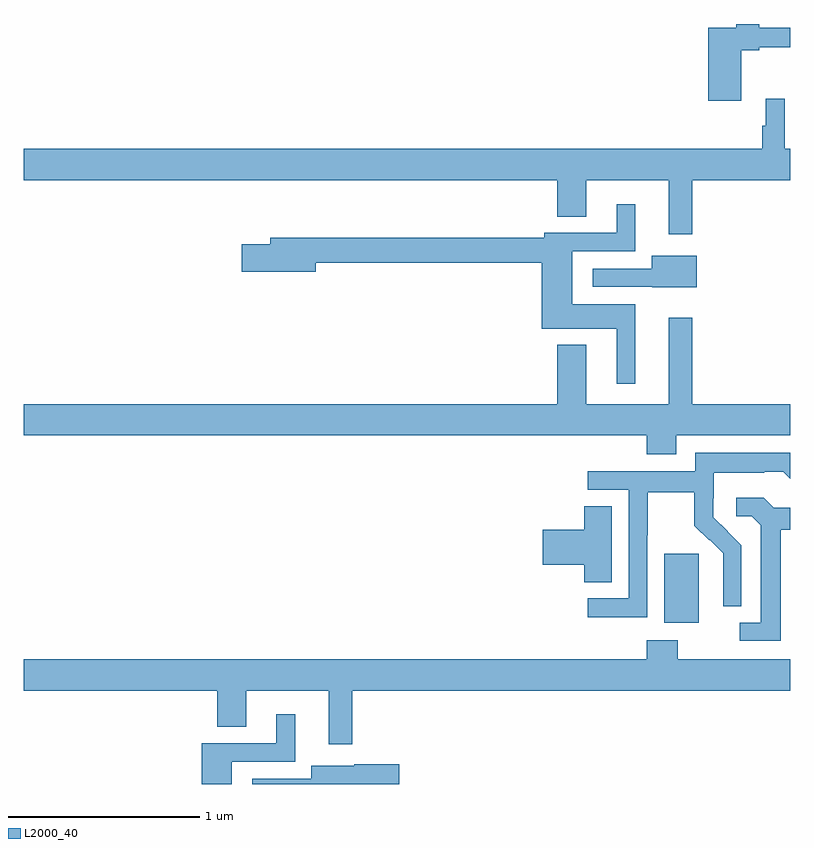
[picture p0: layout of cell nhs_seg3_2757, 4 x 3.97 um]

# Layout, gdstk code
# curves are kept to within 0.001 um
import gdstk
lib = gdstk.Library(unit=1e-6, precision=1e-09)
def R(c, l, rs):  # rectangles x0, y0, x1, y1
    for r in rs: c.add(gdstk.rectangle(r[:2], r[2:], *l))
def P(c, l, *ps):  # polygons
    for p in ps: c.add(gdstk.Polygon(p, *l))
L2000_40 = (2000, 40)

nhs_seg3_2757 = lib.new_cell('nhs_seg3_2757')
R(nhs_seg3_2757, L2000_40, [(256.343,729.242,256.522,729.603)])
P(nhs_seg3_2757, L2000_40, [(256.744,732.232),(256.84,732.232),(256.84,732.247),(257,732.247),(257,732.348),(256.84,732.348),(256.84,732.368),(256.72,732.368),(256.72,732.348),(256.574,732.348),(256.574,731.967),(256.744,731.967)],
  [(256.489,731.552),(257,731.552),(257,731.716),(256.971,731.716),(256.971,731.977),(256.874,731.977),(256.874,731.838),(256.855,731.838),(256.855,731.716),(253,731.716),(253,731.552),(255.785,731.552),(255.785,731.362),(255.937,731.362),(255.937,731.552),(256.367,731.552),(256.367,731.271),(256.489,731.271)],
  [(256.192,730.906),(255.862,730.906),(255.862,731.181),(256.192,731.181),(256.192,731.428),(256.094,731.428),(256.094,731.277),(255.716,731.277),(255.716,731.251),(254.285,731.251),(254.285,731.217),(254.136,731.217),(254.136,731.075),(254.524,731.075),(254.524,731.122),(255.704,731.122),(255.704,730.778),(256.094,730.778),(256.094,730.491),(256.192,730.491)],
  [(256.513,731.158),(256.277,731.158),(256.277,731.091),(255.969,731.091),(255.969,730.995),(256.281,730.995),(256.281,730.994),(256.513,730.994)],
  [(256.405,730.22),(257,730.22),(257,730.384),(256.489,730.384),(256.489,730.834),(256.367,730.834),(256.367,730.384),(255.937,730.384),(255.937,730.693),(255.785,730.693),(255.785,730.384),(253,730.384),(253,730.22),(256.253,730.22),(256.253,730.121),(256.405,730.121)],
  [(256.254,729.7),(256.257,729.7),(256.257,729.924),(256.501,729.924),(256.501,729.749),(256.578,729.672),(256.581,729.675),(256.652,729.605),(256.652,729.482),(256.65,729.482),(256.65,729.328),(256.746,729.328),(256.746,729.646),(256.6,729.794),(256.6,729.891),(256.602,729.891),(256.602,730.025),(256.865,730.025),(256.865,730.029),(256.965,730.029),(257,729.994),(257,730.129),(256.506,730.129),(256.506,730.032),(255.945,730.032),(255.945,729.936),(256.158,729.936),(256.158,729.369),(255.945,729.369),(255.945,729.271),(256.254,729.271)],
  [(256.951,729.728),(257,729.728),(257,729.843),(256.914,729.843),(256.862,729.895),(256.719,729.895),(256.719,729.798),(256.8,729.798),(256.847,729.751),(256.847,729.243),(256.737,729.243),(256.737,729.147),(256.951,729.147)],
  [(256.069,729.851),(255.926,729.851),(255.926,729.728),(255.708,729.728),(255.708,729.545),(255.926,729.545),(255.926,729.454),(256.069,729.454)],
  [(257,729.052),(256.413,729.052),(256.413,729.151),(256.253,729.151),(256.253,729.052),(253,729.052),(253,728.888),(254.009,728.888),(254.009,728.698),(254.161,728.698),(254.161,728.888),(254.591,728.888),(254.591,728.607),(254.713,728.607),(254.713,728.888),(257,728.888)],
  [(254.086,728.517),(254.416,728.517),(254.416,728.764),(254.318,728.764),(254.318,728.613),(253.928,728.613),(253.928,728.4),(254.086,728.4)],
  [(254.959,728.502),(254.724,728.502),(254.724,728.494),(254.501,728.494),(254.501,728.427),(254.193,728.427),(254.193,728.4),(254.959,728.4)])

lib.write_gds('nhs_seg3_2757.gds')
